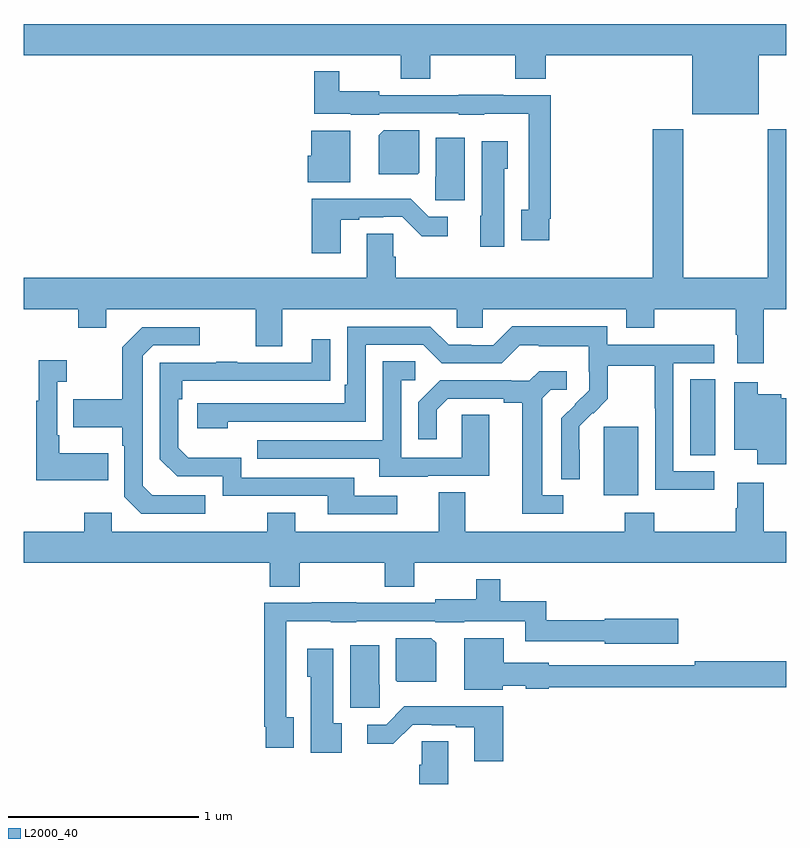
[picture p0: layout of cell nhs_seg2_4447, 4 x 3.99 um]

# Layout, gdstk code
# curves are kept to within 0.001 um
import gdstk
lib = gdstk.Library(unit=1e-6, precision=1e-09)
def R(c, l, rs):  # rectangles x0, y0, x1, y1
    for r in rs: c.add(gdstk.rectangle(r[:2], r[2:], *l))
def P(c, l, *ps):  # polygons
    for p in ps: c.add(gdstk.Polygon(p, *l))
L2000_40 = (2000, 40)

nhs_seg2_4447 = lib.new_cell('nhs_seg2_4447')
R(nhs_seg2_4447, L2000_40, [(354.044,657.314,354.223,657.675), (354.497,657.526,354.628,657.923)])
P(nhs_seg2_4447, L2000_40, [(354.856,659.624),(355,659.624),(355,659.788),(351,659.788),(351,659.624),(352.978,659.624),(352.978,659.5),(353.133,659.5),(353.133,659.624),(353.578,659.624),(353.578,659.5),(353.738,659.5),(353.738,659.624),(354.506,659.624),(354.506,659.315),(354.856,659.315)],
  [(353.758,658.765),(353.765,658.765),(353.765,659.415),(353.515,659.415),(353.515,659.417),(353.283,659.417),(353.283,659.415),(352.866,659.415),(352.866,659.434),(352.654,659.434),(352.654,659.539),(352.525,659.539),(352.525,659.318),(352.716,659.318),(352.716,659.312),(352.866,659.312),(352.866,659.319),(353.283,659.319),(353.283,659.312),(353.415,659.312),(353.415,659.318),(353.649,659.318),(353.649,658.814),(353.609,658.814),(353.609,658.653),(353.758,658.653)],
  [(354.883,658.292),(355,658.292),(355,659.236),(354.904,659.236),(354.904,658.456),(354.459,658.456),(354.459,659.236),(354.299,659.236),(354.299,658.456),(352.952,658.456),(352.952,658.566),(352.938,658.566),(352.938,658.688),(352.799,658.688),(352.799,658.456),(351,658.456),(351,658.292),(351.286,658.292),(351.286,658.193),(351.433,658.193),(351.433,658.292),(352.217,658.292),(352.217,658.098),(352.357,658.098),(352.357,658.292),(353.271,658.292),(353.271,658.194),(353.409,658.194),(353.409,658.292),(354.161,658.292),(354.161,658.193),(354.309,658.193),(354.309,658.292),(354.736,658.292),(354.736,658.158),(354.743,658.158),(354.743,658.008),(354.883,658.008)],
  [(353.074,659.008),(353.074,659.23),(352.888,659.23),(352.862,659.204),(352.862,659),(353.066,659)],
  [(352.714,659.228),(352.508,659.228),(352.508,659.097),(352.49,659.097),(352.49,658.958),(352.714,658.958)],
  [(353.314,659.191),(353.162,659.191),(353.162,658.986),(353.158,658.986),(353.158,658.863),(353.314,658.863)],
  [(353.521,659.028),(353.539,659.028),(353.539,659.173),(353.402,659.173),(353.402,658.782),(353.396,658.782),(353.396,658.62),(353.521,658.62)],
  [(352.663,658.761),(352.759,658.761),(352.759,658.773),(352.886,658.773),(352.886,658.776),(352.986,658.776),(353.089,658.674),(353.224,658.674),(353.224,658.776),(353.124,658.776),(353.029,658.871),(352.511,658.871),(352.511,658.584),(352.663,658.584)],
  [(354.622,657.441),(354.408,657.441),(354.408,658.008),(354.622,658.008),(354.622,658.104),(354.06,658.104),(354.06,658.201),(353.563,658.201),(353.463,658.101),(353.348,658.101),(353.348,658.104),(353.229,658.104),(353.133,658.2),(352.698,658.2),(352.698,657.895),(352.685,657.895),(352.685,657.798),(351.909,657.798),(351.909,657.668),(352.07,657.668),(352.07,657.702),(352.794,657.702),(352.794,658.104),(353.097,658.104),(353.193,658.008),(353.508,658.008),(353.601,658.101),(353.701,658.101),(353.701,658.097),(353.964,658.097),(353.964,657.963),(353.966,657.963),(353.966,657.866),(353.82,657.718),(353.82,657.4),(353.916,657.4),(353.915,657.677),(353.985,657.747),(353.988,657.744),(354.065,657.821),(354.065,657.996),(354.31,657.996),(354.31,657.772),(354.312,657.772),(354.312,657.343),(354.622,657.343)],
  [(351.952,657.315),(351.675,657.315),(351.624,657.366),(351.624,658.047),(351.678,658.101),(351.922,658.101),(351.922,658.197),(351.621,658.197),(351.516,658.091),(351.516,657.819),(351.259,657.819),(351.259,657.671),(351.516,657.671),(351.516,657.575),(351.528,657.575),(351.528,657.306),(351.615,657.219),(351.952,657.219)],
  [(352.96,657.312),(352.735,657.312),(352.735,657.408),(352.14,657.408),(352.14,657.511),(351.863,657.511),(351.81,657.564),(351.81,657.818),(351.83,657.818),(351.83,657.915),(352.607,657.916),(352.607,658.135),(352.511,658.135),(352.511,658.011),(352.121,658.011),(352.121,658.016),(352.009,658.016),(352.009,658.011),(351.714,658.011),(351.714,657.504),(351.804,657.414),(352.044,657.414),(352.044,657.312),(352.595,657.312),(352.595,657.216),(352.96,657.216)],
  [(351.443,657.535),(351.187,657.535),(351.187,657.631),(351.174,657.631),(351.174,657.911),(351.226,657.911),(351.226,658.024),(351.077,658.024),(351.077,657.811),(351.066,657.811),(351.066,657.395),(351.443,657.395)],
  [(353.119,657.417),(353.443,657.417),(353.443,657.737),(353.298,657.737),(353.298,657.513),(352.98,657.513),(352.98,657.918),(353.053,657.918),(353.053,658.019),(352.884,658.019),(352.884,657.603),(352.225,657.603),(352.225,657.507),(352.865,657.507),(352.865,657.413),(353.119,657.413)],
  [(353.83,657.315),(353.719,657.315),(353.719,657.823),(353.766,657.87),(353.848,657.87),(353.848,657.967),(353.704,657.967),(353.652,657.915),(353.558,657.915),(353.558,657.918),(353.186,657.918),(353.07,657.802),(353.07,657.609),(353.167,657.609),(353.167,657.765),(353.224,657.822),(353.519,657.822),(353.519,657.8),(353.615,657.8),(353.615,657.219),(353.83,657.219)],
  [(355,657.825),(354.975,657.825),(354.975,657.844),(354.85,657.844),(354.85,657.907),(354.728,657.907),(354.728,657.554),(354.848,657.554),(354.848,657.477),(355,657.477)],
  [(355,657.124),(354.883,657.124),(354.883,657.382),(354.743,657.382),(354.743,657.248),(354.736,657.248),(354.736,657.124),(354.309,657.124),(354.309,657.223),(354.154,657.223),(354.154,657.124),(353.317,657.124),(353.317,657.332),(353.177,657.332),(353.177,657.124),(352.423,657.124),(352.423,657.223),(352.276,657.223),(352.276,657.124),(351.462,657.124),(351.462,657.223),(351.316,657.223),(351.316,657.124),(351,657.124),(351,656.96),(352.289,656.96),(352.289,656.836),(352.449,656.836),(352.449,656.96),(352.894,656.96),(352.894,656.836),(353.049,656.836),(353.049,656.96),(355,656.96)],
  [(352.417,656.15),(352.377,656.15),(352.377,656.654),(352.611,656.654),(352.611,656.648),(352.743,656.648),(352.743,656.655),(353.16,656.655),(353.16,656.648),(353.31,656.648),(353.31,656.654),(353.631,656.654),(353.631,656.55),(354.048,656.55),(354.048,656.537),(354.433,656.537),(354.433,656.667),(354.048,656.667),(354.048,656.659),(353.74,656.659),(353.74,656.759),(353.501,656.759),(353.501,656.875),(353.373,656.875),(353.373,656.77),(353.16,656.77),(353.16,656.751),(352.743,656.751),(352.743,656.753),(352.511,656.753),(352.511,656.751),(352.261,656.751),(352.261,656.101),(352.269,656.101),(352.269,655.989),(352.417,655.989)],
  [(353.164,656.54),(353.138,656.566),(352.952,656.566),(352.952,656.344),(352.96,656.336),(353.164,656.336)],
  [(353.514,656.315),(353.634,656.315),(353.634,656.3),(353.754,656.3),(353.754,656.308),(355,656.308),(355,656.444),(354.52,656.444),(354.52,656.424),(353.754,656.424),(353.754,656.437),(353.518,656.437),(353.518,656.564),(353.312,656.564),(353.312,656.294),(353.514,656.294)],
  [(352.868,656.322),(352.864,656.322),(352.864,656.527),(352.712,656.527),(352.712,656.199),(352.868,656.199)],
  [(352.669,656.118),(352.624,656.118),(352.624,656.509),(352.487,656.509),(352.487,656.364),(352.505,656.364),(352.505,655.964),(352.669,655.964)],
  [(353.516,656.207),(352.997,656.207),(352.902,656.112),(352.803,656.112),(352.803,656.01),(352.938,656.01),(353.04,656.112),(353.14,656.112),(353.14,656.109),(353.267,656.109),(353.267,656.097),(353.363,656.097),(353.363,655.92),(353.516,655.92)],
  [(353.227,656.024),(353.088,656.024),(353.088,655.902),(353.075,655.902),(353.075,655.8),(353.227,655.8)])

lib.write_gds('nhs_seg2_4447.gds')
